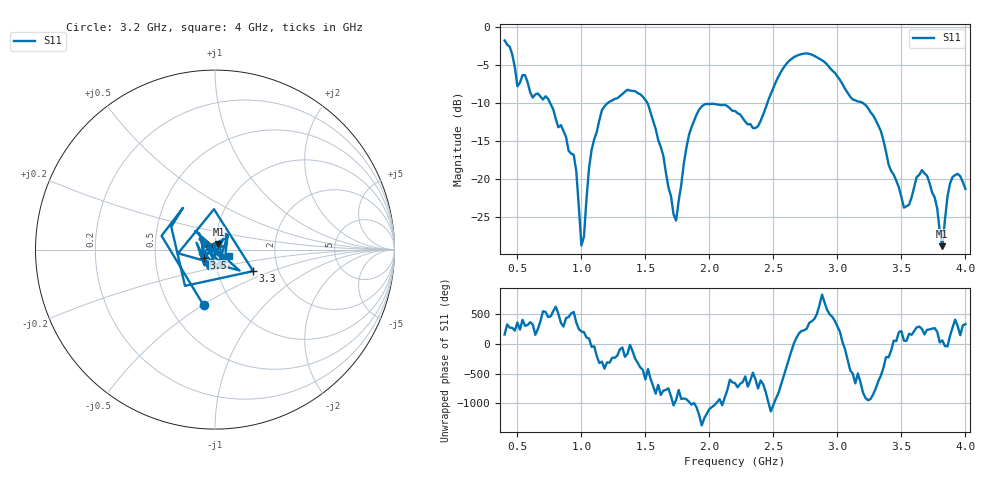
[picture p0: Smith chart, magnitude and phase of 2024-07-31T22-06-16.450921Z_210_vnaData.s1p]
!Created with skrf (http://scikit-rf.org).
# Hz S RI R 50.0
!freq ReS11 ImS11
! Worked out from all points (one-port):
!   181 points, 400 MHz to 4 GHz, reference 50 ohm
!   lowest |S11| = -28.8 dB at 3.82 GHz (marker M1), VSWR 1.08, Z = 51.8 + j3.21 ohm
!   |S11| at or under -10 dB: 756.3 MHz to 1.204 GHz (447.9 MHz wide, 45.7 % of centre); 1.516 GHz to 2.452 GHz (936 MHz wide, 47.2 % of centre); 3.201 GHz to end of sweep
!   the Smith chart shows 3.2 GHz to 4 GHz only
!   S11 on the Smith chart (normalised r, x): 3.2 GHz: 0.73, -0.51; 3.3 GHz: 1.48, -0.38; 3.5 GHz: 0.88, -0.08; 4 GHz: 1.17, -0.09
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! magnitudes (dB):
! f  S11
! 400 MHz  -1.8
! 500 MHz  -7.8
! 560 MHz  -6.3
! 860 MHz  -13.7
! 940 MHz  -16.8
! 1 GHz  -28.7
! 1.1 GHz  -14.7
! 1.16 GHz  -10.9
! 1.3 GHz  -9.1
! 1.52 GHz  -10.1
! 1.72 GHz  -24.6
! 1.76 GHz  -22.8
! 1.84 GHz  -14.2
! 1.92 GHz  -10.8
! 2.2 GHz  -11.0
! 2.38 GHz  -13.0
! 2.66 GHz  -3.9
! 2.9 GHz  -4.6
! 3.1 GHz  -9.1
! 3.2 GHz  -10.0
! 3.3 GHz  -12.2
! 3.5 GHz  -22.4
! 3.56 GHz  -23.4
! 3.62 GHz  -19.7
! 3.7 GHz  -19.5
! 3.82 GHz  -28.8
! 3.9 GHz  -19.7
! 4 GHz  -21.3
